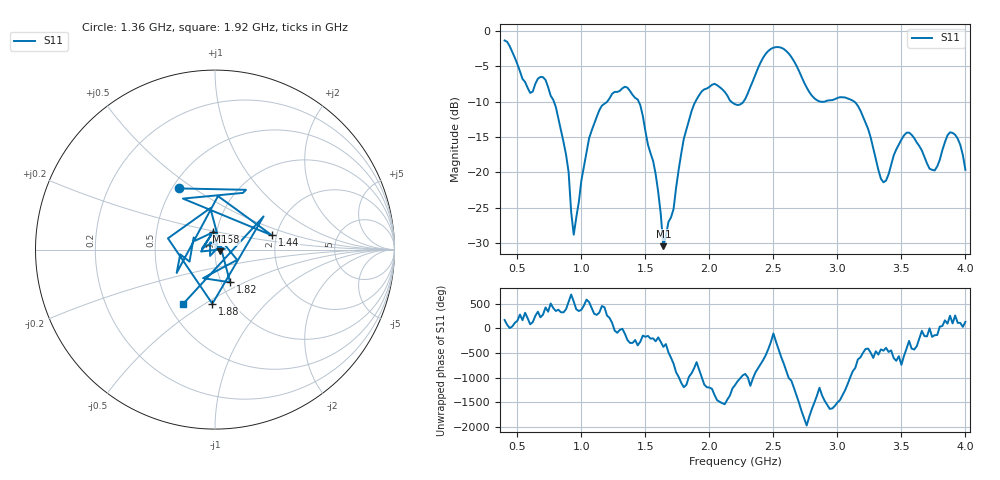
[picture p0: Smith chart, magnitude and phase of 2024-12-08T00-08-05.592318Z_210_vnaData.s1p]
!Created with skrf (http://scikit-rf.org).
# Hz S RI R 50.0
!freq ReS11 ImS11
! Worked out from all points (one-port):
!   181 points, 400 MHz to 4 GHz, reference 50 ohm
!   lowest |S11| = -30.4 dB at 1.64 GHz (marker M1), VSWR 1.06, Z = 53 - j0.933 ohm
!   |S11| at or under -10 dB: 785 MHz to 1.202 GHz (416.9 MHz wide, 42 % of centre); 1.447 GHz to 1.891 GHz (443.9 MHz wide, 26.6 % of centre); 3.131 GHz to end of sweep (the widest 3 of 5)
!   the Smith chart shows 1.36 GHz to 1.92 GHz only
!   S11 on the Smith chart (normalised r, x): 1.36 GHz: 0.54, +0.44; 1.44 GHz: 1.89, +0.34; 1.58 GHz: 0.96, +0.19; 1.82 GHz: 1.10, -0.42; 1.88 GHz: 0.81, -0.54; 1.92 GHz: 0.59, -0.41
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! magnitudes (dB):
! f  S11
! 400 MHz  -1.4
! 600 MHz  -8.8
! 720 MHz  -7.0
! 860 MHz  -15.7
! 900 MHz  -19.9
! 940 MHz  -28.8
! 1.06 GHz  -15.2
! 1.3 GHz  -8.5
! 1.36 GHz  -8.0
! 1.44 GHz  -9.7
! 1.58 GHz  -20.2
! 1.64 GHz  -30.4
! 1.76 GHz  -19.6
! 1.82 GHz  -14.0
! 1.88 GHz  -10.4
! 1.92 GHz  -9.1
! 2.04 GHz  -7.5
! 2.2 GHz  -10.4
! 2.48 GHz  -2.6
! 2.66 GHz  -4.3
! 2.84 GHz  -9.8
! 3.1 GHz  -9.7
! 3.24 GHz  -13.9
! 3.36 GHz  -21.4
! 3.56 GHz  -14.4
! 3.76 GHz  -19.7
! 3.9 GHz  -14.4
! 4 GHz  -19.6
